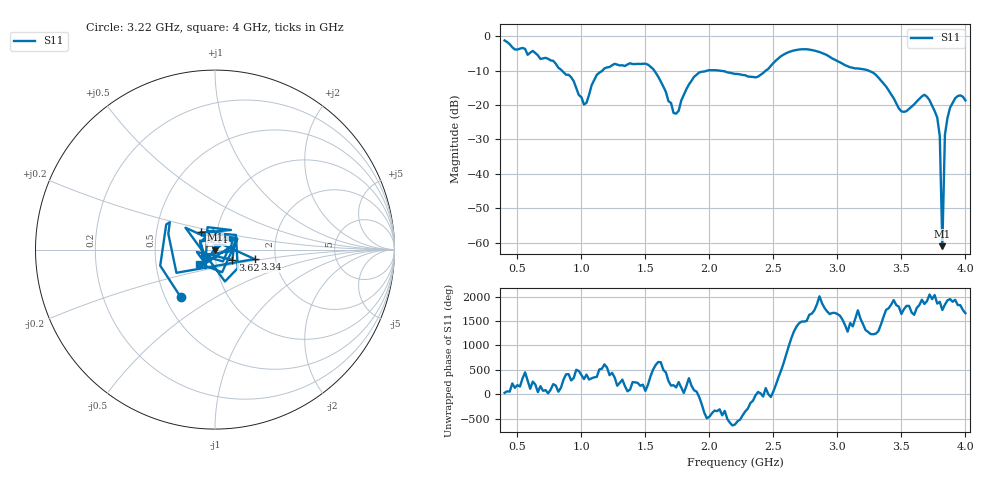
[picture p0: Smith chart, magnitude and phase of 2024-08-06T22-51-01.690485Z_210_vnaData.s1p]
!Created with skrf (http://scikit-rf.org).
# Hz S RI R 50.0
!freq ReS11 ImS11
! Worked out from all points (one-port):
!   181 points, 400 MHz to 4 GHz, reference 50 ohm
!   lowest |S11| = -61.1 dB at 3.82 GHz (marker M1), VSWR 1.00, Z = 50 - j0.0854 ohm
!   |S11| at or under -10 dB: 1.569 GHz to 1.983 GHz (414.3 MHz wide, 23.3 % of centre); 2.078 GHz to 2.44 GHz (361.5 MHz wide, 16 % of centre); 3.243 GHz to end of sweep (the widest 3 of 4)
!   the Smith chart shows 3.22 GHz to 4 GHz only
!   S11 on the Smith chart (normalised r, x): 3.22 GHz: 0.60, -0.36; 3.34 GHz: 1.55, -0.17; 3.44 GHz: 0.84, +0.17; 3.62 GHz: 1.21, -0.14; 4 GHz: 0.83, -0.13
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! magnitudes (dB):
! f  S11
! 400 MHz  -1.2
! 860 MHz  -10.5
! 1.02 GHz  -19.9
! 1.12 GHz  -11.2
! 1.3 GHz  -8.5
! 1.52 GHz  -8.3
! 1.62 GHz  -13.2
! 1.72 GHz  -22.3
! 1.76 GHz  -21.7
! 1.92 GHz  -10.5
! 2.2 GHz  -11.0
! 2.38 GHz  -11.8
! 2.66 GHz  -4.1
! 3.1 GHz  -9.0
! 3.22 GHz  -9.7
! 3.34 GHz  -12.9
! 3.44 GHz  -18.0
! 3.5 GHz  -21.8
! 3.56 GHz  -21.1
! 3.62 GHz  -19.0
! 3.7 GHz  -17.6
! 3.78 GHz  -23.7
! 3.8 GHz  -29.1
! 3.82 GHz  -61.1
! 3.84 GHz  -28.7
! 3.86 GHz  -23.8
! 3.92 GHz  -18.0
! 4 GHz  -18.7
